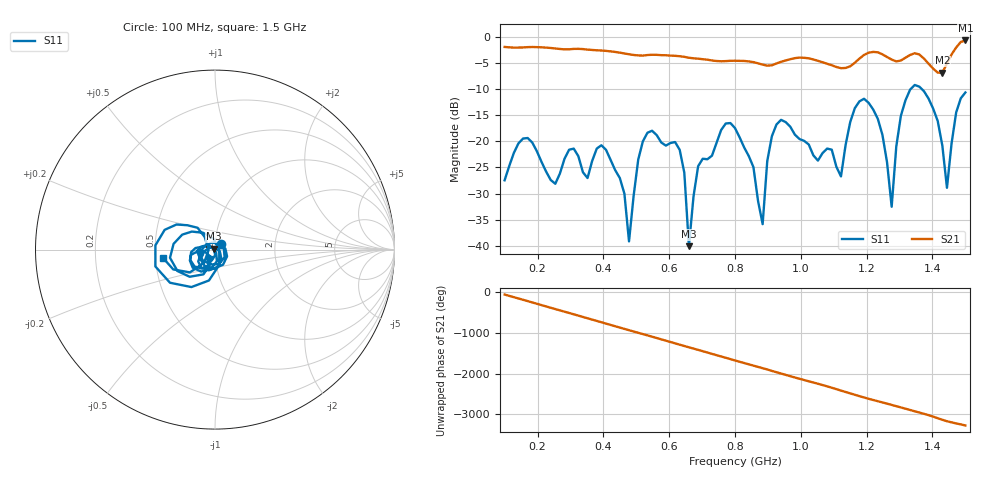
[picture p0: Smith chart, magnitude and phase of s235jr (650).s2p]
! NanoVNA-App
! Date: 2025-09-25 15:09:14
! Start: 100MHz Stop: 1,5GHz Points: 101
! S-Parameter data: F S11 S21 S12 S22
# Hz S RI R 50
!  Frequency  S11_Real  S11_Imag  S21_Real  S21_Imag  S12_Real  S12_Imag  S22_Real  S22_Imag
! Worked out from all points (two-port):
!   101 points, 100 MHz to 1.5 GHz, reference 50 ohm
!   highest |S21| = -0.72 dB at 1.5 GHz (marker M1); lowest = -6.9 dB at 1.43 GHz (marker M2)
!   |S21| within 3 dB of the highest: start of sweep to 628.8 MHz; 1.187 GHz to 1.257 GHz (69.99 MHz wide, 5.73 % of centre) (the widest 2 of 4)
!   lowest |S11| = -40.1 dB at 660 MHz (marker M3), VSWR 1.02, Z = 49.2 + j0.564 ohm
!   |S11| at or under -10 dB: start of sweep to 1.334 GHz; 1.367 GHz to end of sweep
!   S12 and S22 are empty: the file has one direction only
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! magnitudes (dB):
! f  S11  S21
! 100 MHz  -27.5  -2.0
! 170 MHz  -19.4  -2.0
! 338 MHz  -25.9  -2.4
! 408 MHz  -21.6  -2.7
! 478 MHz  -39.2  -3.4
! 520 MHz  -20.0  -3.6
! 576 MHz  -20.2  -3.5
! 632 MHz  -21.7  -3.7
! 660 MHz  -40.1  -4.0
! 688 MHz  -24.8  -4.2
! 800 MHz  -17.5  -4.6
! 884 MHz  -35.9  -5.3
! 926 MHz  -16.8  -5.1
! 1.038 GHz  -22.7  -4.4
! 1.122 GHz  -26.7  -6.0
! 1.192 GHz  -11.9  -3.5
! 1.248 GHz  -18.8  -3.4
! 1.276 GHz  -32.5  -4.4
! 1.332 GHz  -10.1  -3.5
! 1.43 GHz  -20.9  -6.9
! 1.444 GHz  -28.9  -5.1
! 1.5 GHz  -10.7  -0.7
